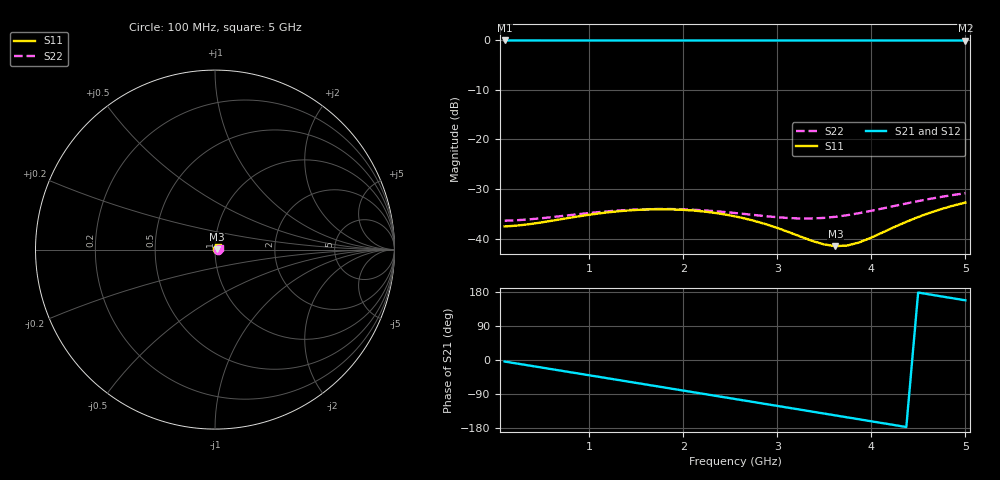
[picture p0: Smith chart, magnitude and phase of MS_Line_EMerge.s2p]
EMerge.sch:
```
<Qucs Schematic 25.1.2>
<Properties>
  <View=422,104,867,354,3.54279,0,0>
  <Grid=10,10,1>
  <DataSet=EMerge.dat>
  <DataDisplay=EMerge.dpl>
  <OpenDisplay=0>
  <Script=EMerge.m>
  <RunScript=0>
  <showFrame=0>
  <FrameText0=Title>
  <FrameText1=Drawn By:>
  <FrameText2=Date:>
  <FrameText3=Revision:>
</Properties>
<Symbol>
  <.ID 0 24 SUB>
  <.PortSym -110 0 1 0 P1>
  <.PortSym 200 0 2 180 P2>
  <Text -10 -70 11 #000000 0 "EMerge (S-par file)">
  <Rectangle -80 -10 250 20 #000000 1 1 #ffaa00 1 1>
  <Line -110 0 30 0 #000000 1 1>
  <Text 20 -40 15 #000000 0 "50 Ω">
  <Line 170 0 30 0 #000000 1 1>
</Symbol>
<Components>
  <GND * 1 570 260 0 0 0 0>
  <Port P1 1 490 230 -23 12 0 0 "1" 1 "analog" 0>
  <Port P2 1 650 230 4 -46 0 2 "2" 1 "analog" 0>
  <SPfile X1 1 570 230 -26 -55 0 0 "MS_Line_EMerge.s2p" 1 "rectangular" 0 "linear" 0 "open" 0 "2" 0>
</Components>
<Wires>
  <490 230 540 230 "" 0 0 0 "">
  <600 230 650 230 "" 0 0 0 "">
</Wires>
<Diagrams>
</Diagrams>
<Paintings>
</Paintings>
```
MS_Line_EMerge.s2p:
! Generated by EMerge - 2-port S-parameters
! File generated: 2026-02-14 19:14
! Substrate: RO4003C
! h = 0.508 mm
! Design parameters:
! W0 = 1.1 mm
! L0 = 20 mm
! Air box height = 5.08 mm
! Run time = 0.57 min
# GHZ S RI R 50
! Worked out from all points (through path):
!   40 points, 100 MHz to 5 GHz, reference 50 ohm
!   highest |S21| = -0.14 dB at 100 MHz (marker M1); lowest = -0.2 dB at 5 GHz (marker M2)
!   group delay of S21, straight-line fit = 112 ps
!   lowest |S11| = -41.4 dB at 3.618 GHz (marker M3), VSWR 1.02, Z = 50.9 + j0.123 ohm
!   |S11| at or under -10 dB: start of sweep to end of sweep
!   |S22| runs from -36.3 to -30.8 dB; largest |S21 - S12| = 0.00055
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0.1  0.0134 0.000607  0.9812 -0.0691  0.9818 -0.0692  0.0153 0.000526
0.7282051  0.0157 0.0032  0.857 -0.4819  0.8575 -0.4822  0.0169 0.00294
1.105128  0.0179 0.00309  0.7006 -0.6896  0.701 -0.69  0.0184 0.00329
1.482051  0.0196 0.00158  0.4951 -0.8491  0.4954 -0.8496  0.0196 0.00275
2.110256  0.0192 -0.00245  0.0836 -0.9793  0.0836 -0.9799  0.0197 0.00102
2.612821  0.0159 -0.00445  -0.2618 -0.9474  -0.262 -0.9479  0.0181 0.00059
3.115385  0.0114 -0.00329  -0.5751 -0.7971  -0.5754 -0.7976  0.0162 0.00218
3.617949  0.00844 0.00121  -0.8169 -0.5466  -0.8173 -0.547  0.0158 0.00554
3.869231  0.00827 0.00421  -0.9009 -0.3931  -0.9014 -0.3933  0.0167 0.00743
4.371795  0.0112 0.00996  -0.9814 -0.0533  -0.9819 -0.0534  0.0204 0.0103
5  0.0194 0.013  -0.9075 0.3768  -0.908 0.3769  0.0272 0.0099
